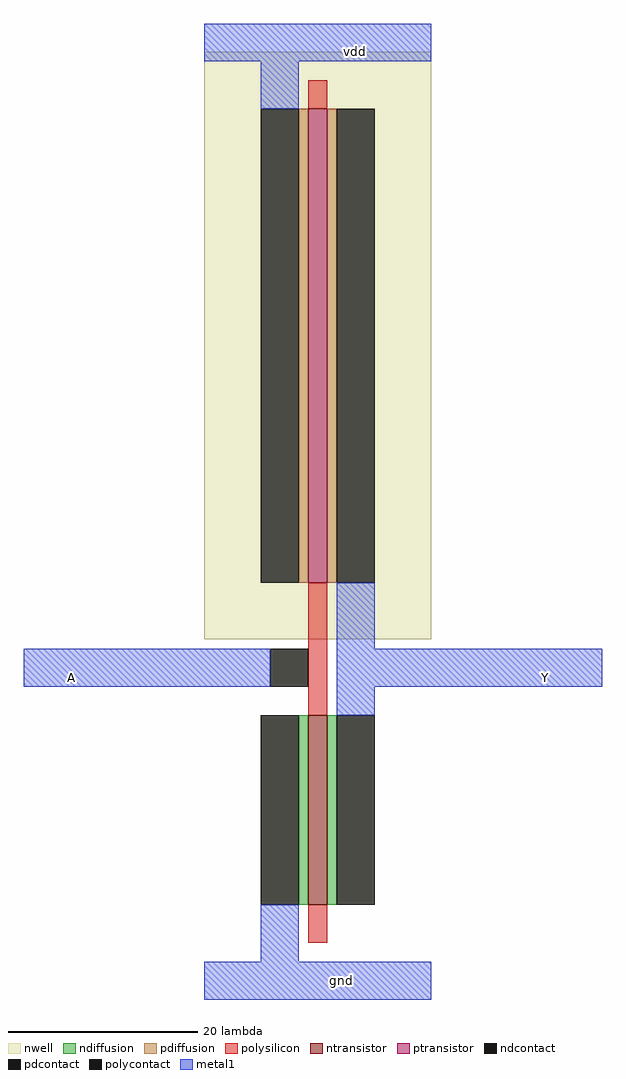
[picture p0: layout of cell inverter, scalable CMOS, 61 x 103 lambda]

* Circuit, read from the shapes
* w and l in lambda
.subckt inverter A Y gnd vdd
M1 Y A gnd VSUBS nfet w=20 l=2
M2 Y A vdd n1 pfet w=50 l=2
.ends

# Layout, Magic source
magic
tech scmos
<< nwell >>
rect -13 -25 11 37
<< ntransistor >>
rect -2 -53 0 -33
<< ptransistor >>
rect -2 -19 0 31
<< ndiffusion >>
rect -3 -53 -2 -33
rect 0 -53 1 -33
<< pdiffusion >>
rect -3 -19 -2 31
rect 0 -19 1 31
<< ndcontact >>
rect -7 -53 -3 -33
rect 1 -53 5 -33
<< pdcontact >>
rect -7 -19 -3 31
rect 1 -19 5 31
<< polysilicon >>
rect -2 31 0 34
rect -2 -33 0 -19
rect -2 -57 0 -53
<< polycontact >>
rect -6 -30 -2 -26
<< metal1 >>
rect -13 36 11 40
rect -7 31 -3 36
rect 1 -26 5 -19
rect -32 -30 -6 -26
rect 1 -30 29 -26
rect 1 -33 5 -30
rect -7 -59 -3 -53
rect -13 -63 11 -59
<< labels >>
rlabel metal1 0 -62 3 -60 1 gnd
rlabel metal1 -28 -30 -26 -28 3 A
rlabel metal1 22 -30 24 -28 1 Y
rlabel metal1 2 36 4 38 5 vdd
<< end >>
